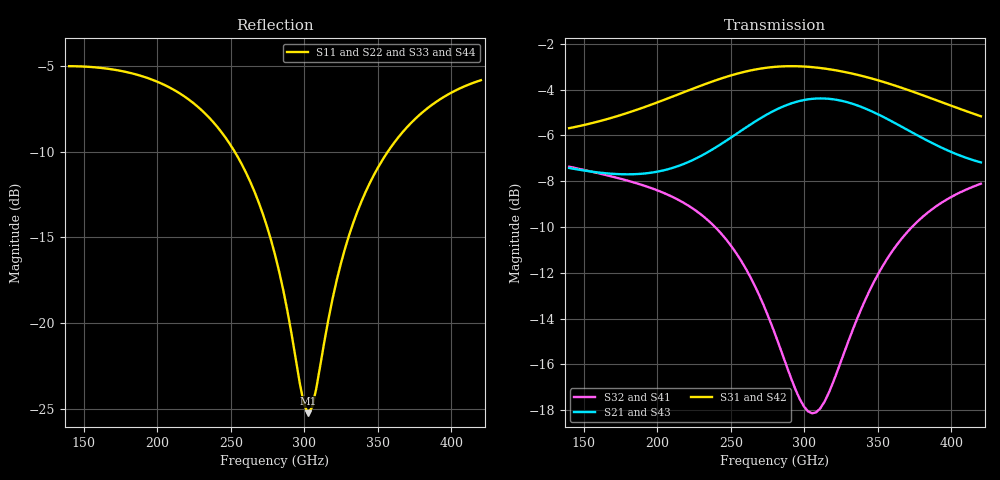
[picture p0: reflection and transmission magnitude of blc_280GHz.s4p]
#  GHZ S DB R 50
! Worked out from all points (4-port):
!   101 points, 140 GHz to 420 GHz, reference 50 ohm
!   strongest paths, dB at 140 GHz, 210 GHz, 280 GHz, 350 GHz, 420 GHz:
!     S31: -5.7, -4.3, -3.0, -3.6, -5.2
!     S42: -5.7, -4.3, -3.0, -3.6, -5.2
!     S21: -7.4, -7.4, -4.9, -5.1, -7.2
!     S43: -7.4, -7.4, -4.9, -5.1, -7.2
!     S32: -7.4, -8.7, -14.7, -12.1, -8.1
!     S41: -7.4, -8.7, -14.7, -12.1, -8.1
!   lowest |S11| = -25.3 dB at 302.4 GHz (marker M1), VSWR 1.12, Z = 55.6 - j1.33 ohm
!   |S11| at or under -10 dB: 252.6 GHz to 356.7 GHz (104.2 GHz wide, 34.2 % of centre)
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140  -5.01 156.6  -7.42 -50.9  -5.68 -78.8  -7.37 -61.4
     -7.42 -50.9  -5.02 156.7  -7.37 -61.3  -5.68 -78.8
     -5.68 -78.8  -7.37 -61.3  -5.02 156.7  -7.42 -51.0
     -7.37 -61.4  -5.68 -78.8  -7.42 -51.0  -5.02 156.6
201.6  -5.98 131.1  -7.56 -63.5  -4.52 -114.9  -8.44 -88.6
       -7.56 -63.5  -5.99 131.2  -8.44 -88.6  -4.52 -114.9
       -4.52 -114.9  -8.44 -88.6  -6.00 131.2  -7.56 -63.6
       -8.44 -88.6  -4.52 -114.9  -7.56 -63.6  -5.99 131.1
246.4  -9.19 103.0  -6.25 -73.6  -3.45 -146.5  -10.52 -111.9
       -6.25 -73.6  -9.20 103.0  -10.51 -111.9  -3.45 -146.4
       -3.45 -146.5  -10.51 -111.9  -9.22 103.1  -6.25 -73.7
       -10.52 -111.9  -3.45 -146.4  -6.25 -73.7  -9.20 103.0
277.2  -15.13 73.5  -4.99 -87.3  -3.02 -171.1  -14.21 -122.5
       -4.99 -87.3  -15.16 73.4  -14.20 -122.6  -3.02 -171.1
       -3.02 -171.1  -14.20 -122.6  -15.19 73.5  -4.99 -87.5
       -14.21 -122.5  -3.02 -171.1  -4.99 -87.5  -15.16 73.5
302.4  -25.26 -12.6  -4.42 -102.7  -3.00 168.2  -18.04 -103.4
       -4.42 -102.7  -25.21 -13.5  -18.05 -103.5  -3.00 168.2
       -3.00 168.2  -18.05 -103.5  -25.26 -13.9  -4.43 -102.9
       -18.04 -103.4  -3.00 168.2  -4.43 -102.9  -25.24 -13.5
347.2  -11.37 -120.5  -4.99 -130.0  -3.54 132.9  -12.39 -76.3
       -4.99 -130.0  -11.34 -120.4  -12.41 -76.3  -3.54 132.8
       -3.54 132.9  -12.41 -76.3  -11.32 -120.4  -5.00 -130.2
       -12.39 -76.3  -3.54 132.8  -5.00 -130.2  -11.33 -120.5
420  -5.83 -162.8  -7.18 -155.5  -5.16 83.0  -8.10 -112.5
     -7.18 -155.5  -5.82 -162.6  -8.11 -112.4  -5.16 83.0
     -5.16 83.0  -8.11 -112.4  -5.81 -162.5  -7.20 -155.7
     -8.10 -112.5  -5.16 83.0  -7.20 -155.7  -5.81 -162.7
